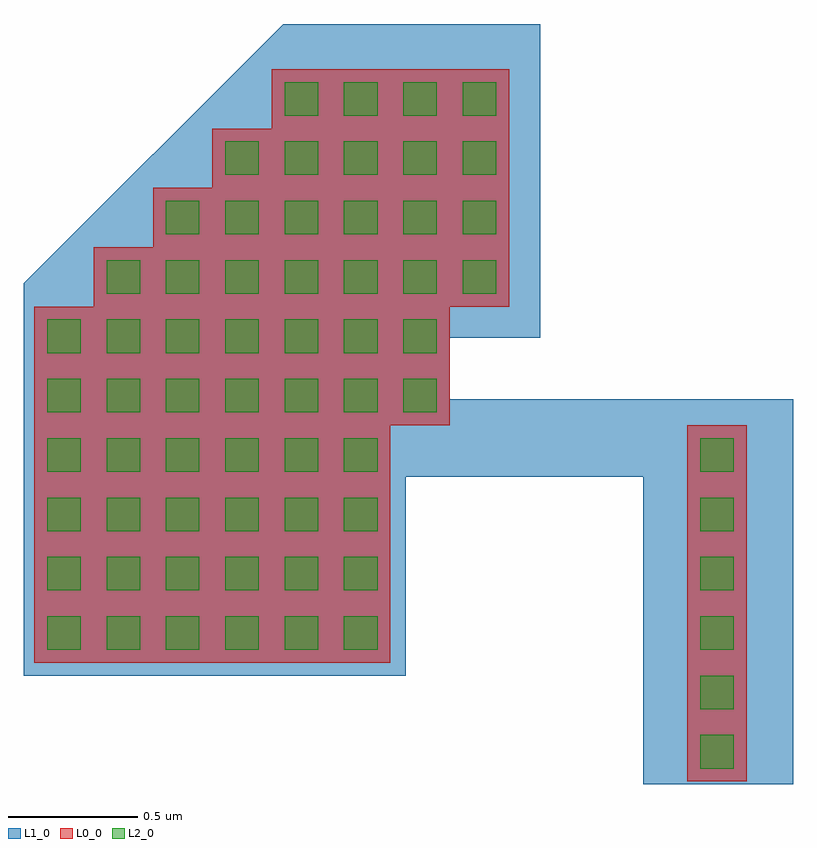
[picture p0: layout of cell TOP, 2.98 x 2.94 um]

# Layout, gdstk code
import gdstk
lib = gdstk.Library(unit=1e-6, precision=1e-09)
def R(c, l, rs):  # rectangles x0, y0, x1, y1
    for r in rs: c.add(gdstk.rectangle(r[:2], r[2:], *l))
def P(c, l, *ps):  # polygons
    for p in ps: c.add(gdstk.Polygon(p, *l))
L0_0 = (0, 0)
L1_0 = (1, 0)
L2_0 = (2, 0)

fill_cell = lib.new_cell('FILL_CELL')
R(fill_cell, L0_0, [(-0.1,-0.13,0.13,0.1)])
R(fill_cell, L2_0, [(-0.05,-0.08,0.08,0.05)])

top = lib.new_cell('TOP')
P(top, L1_0, [(1.9,-0.93),(1.9,0.26),(0.98,0.26),(0.98,-0.51),(-0.5,-0.51),(-0.5,1.01),(0.505,2.015),(1.5,2.015),(1.5,0.8),(1.15,0.8),(1.15,0.56),(2.48,0.56),(2.48,-0.93)])
r = gdstk.Reference(fill_cell, (-0.36,-0.33)); r.repetition = gdstk.Repetition(1, 6, v1=(0,0), v2=(0,0.23)); top.add(r)
r = gdstk.Reference(fill_cell, (-0.13,-0.33)); r.repetition = gdstk.Repetition(1, 7, v1=(0,0), v2=(0,0.23)); top.add(r)
r = gdstk.Reference(fill_cell, (0.1,-0.33)); r.repetition = gdstk.Repetition(1, 8, v1=(0,0), v2=(0,0.23)); top.add(r)
r = gdstk.Reference(fill_cell, (0.33,-0.33)); r.repetition = gdstk.Repetition(1, 9, v1=(0,0), v2=(0,0.23)); top.add(r)
r = gdstk.Reference(fill_cell, (0.56,-0.33)); r.repetition = gdstk.Repetition(1, 10, v1=(0,0), v2=(0,0.23)); top.add(r)
r = gdstk.Reference(fill_cell, (0.79,-0.33)); r.repetition = gdstk.Repetition(1, 10, v1=(0,0), v2=(0,0.23)); top.add(r)
r = gdstk.Reference(fill_cell, (1.02,0.59)); r.repetition = gdstk.Repetition(1, 6, v1=(0,0), v2=(0,0.23)); top.add(r)
r = gdstk.Reference(fill_cell, (1.25,1.05)); r.repetition = gdstk.Repetition(1, 4, v1=(0,0), v2=(0,0.23)); top.add(r)
r = gdstk.Reference(fill_cell, (2.17,-0.79)); r.repetition = gdstk.Repetition(1, 6, v1=(0,0), v2=(0,0.23)); top.add(r)

lib.write_gds('TOP.gds')
